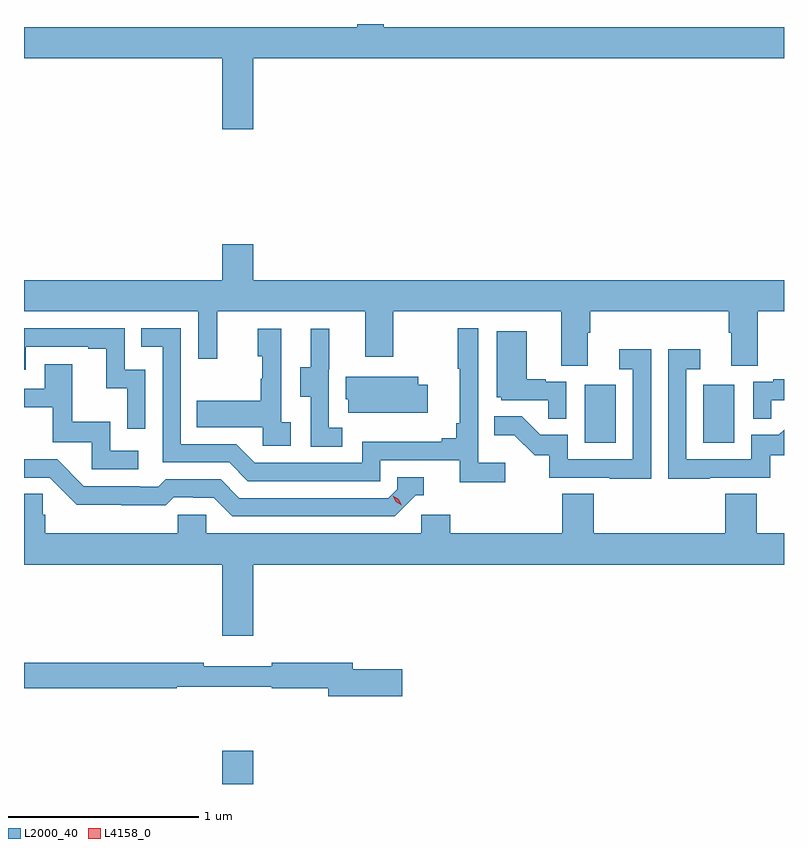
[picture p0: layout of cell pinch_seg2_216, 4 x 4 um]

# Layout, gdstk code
import gdstk
lib = gdstk.Library(unit=1e-6, precision=1e-09)
def R(c, l, rs):  # rectangles x0, y0, x1, y1
    for r in rs: c.add(gdstk.rectangle(r[:2], r[2:], *l))
def P(c, l, *ps):  # polygons
    for p in ps: c.add(gdstk.Polygon(p, *l))
L2000_40 = (2000, 40)
L4158_0 = (4158, 0)

pinch_seg2_216 = lib.new_cell('pinch_seg2_216')
R(pinch_seg2_216, L2000_40, [(992.18,649.145,992.344,649.321), (994.088,650.94,994.252,651.247), (994.712,650.94,994.876,651.247)])
P(pinch_seg2_216, L2000_40, [(992.344,652.964),(995.137,652.964),(995.137,653.128),(993.031,653.128),(993.031,653.145),(992.891,653.145),(992.891,653.128),(991.137,653.128),(991.137,652.964),(992.18,652.964),(992.18,652.59),(992.344,652.59)],
  [(994.105,651.52),(994.118,651.52),(994.118,651.632),(994.847,651.632),(994.847,651.52),(994.859,651.52),(994.859,651.346),(994.999,651.346),(994.999,651.632),(995.137,651.632),(995.137,651.796),(992.344,651.796),(992.344,651.985),(992.18,651.985),(992.18,651.796),(991.137,651.796),(991.137,651.632),(992.055,651.632),(992.055,651.384),(992.153,651.384),(992.153,651.632),(992.933,651.632),(992.933,651.393),(993.081,651.393),(993.081,651.632),(993.965,651.632),(993.965,651.346),(994.105,651.346)],
  [(993.67,650.836),(993.528,650.836),(993.528,651.544),(993.42,651.544),(993.42,651.331),(993.431,651.331),(993.431,651.043),(993.412,651.043),(993.412,650.966),(993.335,650.966),(993.335,650.947),(992.916,650.947),(992.916,650.835),(992.352,650.835),(992.253,650.934),(991.962,650.934),(991.962,651.543),(991.753,651.543),(991.753,651.447),(991.866,651.447),(991.866,650.838),(992.216,650.838),(992.315,650.739),(993.012,650.739),(993.012,650.85),(993.431,650.85),(993.431,650.734),(993.67,650.734)],
  [(991.776,651.324),(991.668,651.324),(991.668,651.543),(991.137,651.543),(991.137,651.324),(991.146,651.324),(991.146,651.447),(991.475,651.447),(991.475,651.435),(991.571,651.435),(991.571,651.227),(991.68,651.227),(991.68,651.015),(991.776,651.015)],
  [(992.812,651.021),(992.742,651.021),(992.742,651.327),(992.744,651.327),(992.744,651.541),(992.645,651.541),(992.645,651.339),(992.591,651.339),(992.591,651.184),(992.646,651.184),(992.646,650.92),(992.812,650.92)],
  [(992.542,651.05),(992.49,651.05),(992.49,651.541),(992.366,651.541),(992.366,651.396),(992.392,651.396),(992.392,651.278),(992.382,651.278),(992.382,651.163),(992.047,651.163),(992.047,651.023),(992.394,651.023),(992.394,650.925),(992.542,650.925)],
  [(993.99,651.261),(993.884,651.261),(993.884,651.274),(993.784,651.274),(993.784,651.529),(993.626,651.529),(993.626,651.18),(993.648,651.18),(993.648,651.165),(993.895,651.165),(993.895,651.067),(993.99,651.067)],
  [(994.745,650.757),(995.064,650.757),(995.064,650.874),(995.137,650.874),(995.137,651.01),(995.109,650.982),(994.965,650.982),(994.965,650.853),(994.623,650.853),(994.623,651.327),(994.696,651.327),(994.696,651.433),(994.527,651.433),(994.527,650.752),(994.745,650.752)],
  [(994.437,651.433),(994.269,651.433),(994.269,651.327),(994.341,651.327),(994.341,650.853),(993.999,650.853),(993.999,650.982),(993.855,650.982),(993.757,651.08),(993.613,651.08),(993.613,650.981),(993.717,650.981),(993.824,650.874),(993.901,650.874),(993.901,650.757),(994.219,650.757),(994.219,650.752),(994.437,650.752)],
  [(991.738,650.898),(991.59,650.898),(991.59,651.052),(991.391,651.052),(991.391,651.355),(991.247,651.355),(991.247,651.225),(991.137,651.225),(991.137,651.129),(991.289,651.129),(991.289,650.943),(991.494,650.943),(991.494,650.802),(991.738,650.802)],
  [(993.262,651.246),(993.211,651.246),(993.211,651.289),(992.831,651.289),(992.831,651.171),(992.843,651.171),(992.843,651.099),(992.947,651.099),(992.947,651.098),(993.262,651.098)],
  [(995.069,651.165),(995.137,651.165),(995.137,651.274),(995.081,651.274),(995.081,651.261),(994.974,651.261),(994.974,651.067),(995.069,651.067)],
  [(993.198,650.664),(993.241,650.664),(993.241,650.76),(993.102,650.76),(993.102,650.697),(993.054,650.649),(992.271,650.649),(992.172,650.748),(991.883,650.748),(991.844,650.709),(991.745,650.709),(991.745,650.712),(991.452,650.712),(991.311,650.853),(991.137,650.853),(991.137,650.757),(991.272,650.757),(991.414,650.615),(991.65,650.615),(991.65,650.613),(991.883,650.613),(991.925,650.655),(992.028,650.655),(992.028,650.652),(992.135,650.652),(992.234,650.553),(993.087,650.553)],
  [(992.344,650.3),(995.137,650.3),(995.137,650.464),(994.994,650.464),(994.994,650.672),(994.829,650.672),(994.829,650.464),(994.136,650.464),(994.136,650.672),(993.971,650.672),(993.971,650.464),(993.38,650.464),(993.38,650.562),(993.228,650.562),(993.228,650.464),(992.097,650.464),(992.097,650.562),(991.947,650.562),(991.947,650.464),(991.25,650.464),(991.25,650.562),(991.235,650.562),(991.235,650.672),(991.137,650.672),(991.137,650.3),(992.18,650.3),(992.18,649.926),(992.344,649.926)],
  [(993.127,649.748),(992.866,649.748),(992.866,649.784),(992.44,649.784),(992.44,649.765),(992.084,649.765),(992.084,649.784),(991.137,649.784),(991.137,649.648),(991.942,649.648),(991.942,649.656),(992.442,649.656),(992.442,649.648),(992.738,649.648),(992.738,649.606),(993.127,649.606)])
P(pinch_seg2_216, L4158_0, [(993.126,650.611),(993.094,650.63),(993.078,650.663),(993.078,650.663),(993.078,650.663),(993.109,650.644),(993.126,650.611),(993.126,650.611)])

lib.write_gds('pinch_seg2_216.gds')
